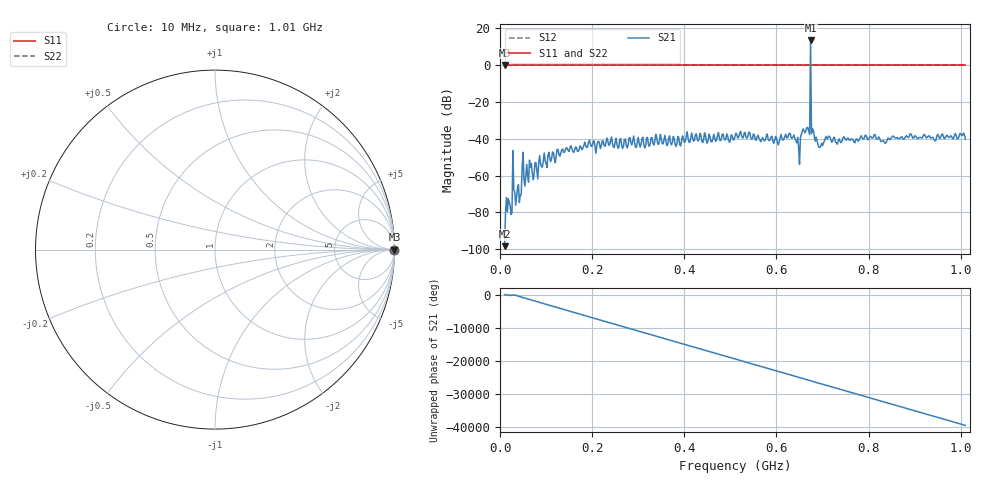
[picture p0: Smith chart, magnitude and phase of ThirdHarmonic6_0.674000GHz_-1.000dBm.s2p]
! 8/15/2025 10:27:35 PM
! C:\ANRITSUVNA\TEMP\TEMP.S2P
! CHANNEL.1
! TR.MEASUREMENT
! RAW.DATA
! RF.CORRECTION.OFF
! AVERAGING.OFF
! IF.BANDWIDTH: 5KHZ
! SWEEPTYPE:  FREQ.SWEEP(Linear)
! Reference Plane Port Info
! PORT:  PORT1  PORT2
! DISTANCE:  0  m  0  m
! TIME:  0  s  0  s
! PHASE.OFFSET:  0  deg.  0  deg.
! LOSS:  0  dB  0  dB
! REF.LOSS:  0  dB  0  dB
! REF.FREQ:  0  Hz  0  Hz
! Power Info
! POWER:  -20  dBm  -20  dBm
! EFF.POWER:  -20  dBm  -20  dBm
! SOURCE.ATTEN:  0  dB  0  dB
! TEST.ATTEN:  0  dB  0  dB
# GHZ S RI R 50.0
! FREQ.GHZ  S11RE  S11IM  S21RE  S21IM  S12RE  S12IM  S22RE  S22IM
!; PortSelection: Port_12
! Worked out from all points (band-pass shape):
!   501 points, 10 MHz to 1.01 GHz, reference 50 ohm
!   highest |S21| = 13.31 dB at 674 MHz (marker M1); lowest = -98.3 dB at 10 MHz (marker M2)
!   |S21| within 3 dB of the highest: 673.8825 MHz to 674.119 MHz (236.5 kHz wide, 0.0351 % of centre)
!   lowest |S11| = 0.0 dB at 10 MHz (marker M3)
!   |S11| at or under -10 dB: nowhere
!   |S22| runs from 0.0 to 0.0 dB; largest |S21 - S12| = 4.1
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0.01  1 0  7.5e-06 9.6e-06  1 0  1 0
0.022  1 0  0.000149 3.11e-05  1 0  1 0
0.032  1 0  0.000141 -0.000337  1 0  1 0
0.034  1 0  0.000125 -9.49e-05  1 0  1 0
0.042  1 0  5.93e-05 -0.000177  1 0  1 0
0.054  1 0  -0.000471 -0.000215  1 0  1 0
0.058  1 0  0.00197 0.000414  1 0  1 0
0.178  1 0  -0.00503 0.000266  1 0  1 0
0.344  1 0  0.00601 -0.00357  1 0  1 0
0.51  1 0  -0.00985 0.00592  1 0  1 0
0.63  1 0  0.0129 -0.00474  1 0  1 0
0.646  1 0  0.00198 0.0107  1 0  1 0
0.656  1 0  0.0125 0.0103  1 0  1 0
0.668  1 0  -0.0107 -0.0171  1 0  1 0
0.67  1 0  -0.0138 0.00829  1 0  1 0
0.674  1 0  2.872 3.628  1 0  1 0
0.678  1 0  -0.0187 -0.00273  1 0  1 0
0.68  1 0  -0.000242 0.0167  1 0  1 0
0.696  1 0  -0.00546 -0.00295  1 0  1 0
0.712  1 0  0.00357 -0.0102  1 0  1 0
0.844  1 0  0.00934 0.00409  1 0  1 0
1.01  1 0  -0.00966 0.00161  1 0  1 0
